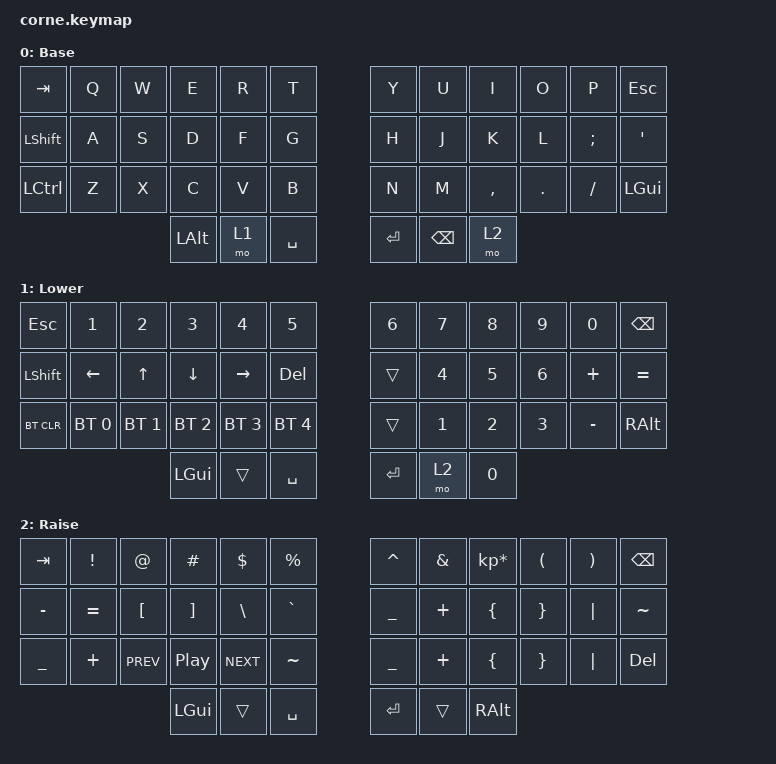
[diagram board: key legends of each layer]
/*
 * Copyright (c) 2020 The ZMK Contributors
 *
 * SPDX-License-Identifier: MIT
 */

#include <behaviors.dtsi>
#include <dt-bindings/zmk/bt.h>
#include <dt-bindings/zmk/keys.h>

/ {
    macros {
        new_macro: new_macro {
            compatible = "zmk,behavior-macro";
            label = "NEW_MACRO";
            #binding-cells = <0>;
            bindings = <&none>;
        };
    };

    combos {
        compatible = "zmk,combos";

        new_combo {
            bindings = <&mo 2>;
            key-positions = <37 40>;
        };

        bracketL {
            bindings = <&kp LEFT_BRACE>;
            key-positions = <16 19>;
        };

        bracketR {
            bindings = <&kp RIGHT_BRACE>;
            key-positions = <15 20>;
        };

        leftparenthsis {
            bindings = <&kp LEFT_PARENTHESIS>;
            key-positions = <14 21>;
        };

        rightparenthsis {
            bindings = <&kp RIGHT_PARENTHESIS>;
            key-positions = <13 22>;
        };

        leftbrace {
            bindings = <&kp LEFT_BRACKET>;
            key-positions = <4 7>;
        };

        rightbrace {
            bindings = <&kp RIGHT_BRACKET>;
            key-positions = <3 8>;
        };

        plus {
            bindings = <&kp PLUS>;
            key-positions = <19 20>;
        };

        minus {
            bindings = <&kp MINUS>;
            key-positions = <7 8>;
        };

        under {
            bindings = <&kp UNDER>;
            key-positions = <4 3>;
            layers = <0>;
        };

        equal {
            bindings = <&kp EQUAL>;
            key-positions = <16 15>;
        };

        anpersand {
            bindings = <&kp AMPERSAND>;
            key-positions = <20 21>;
        };

        pipe {
            bindings = <&kp PIPE>;
            key-positions = <14 13>;
        };

        exclamation {
            bindings = <&kp EXCL>;
            key-positions = <14 15>;
        };

        coma {
            bindings = <&kp COMMA>;
            key-positions = <4 3>;
            layers = <1>;
        };
    };

    keymap {
        compatible = "zmk,keymap";

        default_layer {
            // -----------------------------------------------------------------------------------------
            // |  TAB |  Q  |  W  |  E  |  R  |  T  |   |  Y  |  U   |  I  |  O  |  P  | ESC |
            // | SHFT |  A  |  S  |  D  |  F  |  G  |   |  H  |  J   |  K  |  L  |  ;  |  '   |
            // | CTRL |  Z  |  X  |  C  |  V  |  B  |   |  N  |  M   |  ,  |  .  |  /  | ALT  |
            //                    | GUI | LWR | SPC |   | ENT | BKSP | RSE |

            label = "Base";
            bindings = <
&kp TAB     &kp Q  &kp W  &kp E         &kp R  &kp T        &kp Y      &kp U          &kp I      &kp O    &kp P     &kp ESCAPE
&kp LSHIFT  &kp A  &kp S  &kp D         &kp F  &kp G        &kp H      &kp J          &kp K      &kp L    &kp SEMI  &kp SQT
&kp LCTRL   &kp Z  &kp X  &kp C         &kp V  &kp B        &kp N      &kp M          &kp COMMA  &kp DOT  &kp FSLH  &kp LEFT_GUI
                          &kp LEFT_ALT  &mo 1  &kp SPACE    &kp ENTER  &kp BACKSPACE  &mo 2
            >;
        };

        lower_layer {
            // -----------------------------------------------------------------------------------------
            // |  TAB | BT1 | BT2 | BT3 | BT4 | BT5 |   |     |  7  |  8  |  9  |     | BKSP |
            // | BTCLR| LFT | UP  | DWN | RGT |     |   |     |  4  |  5  |  6  |     |      |
            // | SHFT |     |     |     |     |     |   |     |  1  |  2  |  3  |     | ALT  |
            //                    | GUI |     | SPC |   | ENT | BKSP|  0  |

            label = "Lower";
            bindings = <
&kp ESCAPE  &kp N1        &kp N2        &kp N3        &kp N4        &kp N5          &kp N6     &kp N7  &kp N8  &kp N9  &kp N0     &kp BSPC
&kp LSHFT   &kp LEFT      &kp UP        &kp DOWN      &kp RIGHT     &kp DELETE      &trans     &kp N4  &kp N5  &kp N6  &kp PLUS   &kp EQUAL
&bt BT_CLR  &bt BT_SEL 0  &bt BT_SEL 1  &bt BT_SEL 2  &bt BT_SEL 3  &bt BT_SEL 4    &trans     &kp N1  &kp N2  &kp N3  &kp MINUS  &kp RIGHT_ALT
                                        &kp LGUI      &trans        &kp SPACE       &kp ENTER  &mo 2   &kp N0
            >;
        };

        raise_layer {
            // -----------------------------------------------------------------------------------------
            // |  TAB |  !  |  @  |  #  |  $  |  %  |   |  ^  |  &  |  *  |  (  |  )  | ALT  |
            // | CTRL |     |     |     |     |     |   |  -  |  =  |  [  |  ]  |  \  |  `   |
            // | SHFT |     |     |     |     |     |   |  _  |  +  |  {  |  }  | "|" |  ~   |
            //                    | GUI |     | SPC |   | ENT | BKSP|     |

            label = "Raise";
            bindings = <
&kp TAB    &kp EXCL   &kp AT            &kp HASH           &kp DLLR       &kp PRCNT    &kp CARET  &kp AMPS  &kp KP_MULTIPLY  &kp LPAR         &kp RPAR  &kp BSPC
&kp MINUS  &kp EQUAL  &kp LEFT_BRACKET  &kp RIGHT_BRACKET  &kp BACKSLASH  &kp GRAVE    &kp UNDER  &kp PLUS  &kp LEFT_BRACE   &kp RIGHT_BRACE  &kp PIPE  &kp TILDE
&kp UNDER  &kp PLUS   &kp C_PREV        &kp C_PLAY_PAUSE   &kp C_NEXT     &kp TILDE    &kp UNDER  &kp PLUS  &kp LBRC         &kp RBRC         &kp PIPE  &kp DEL
                                        &kp LGUI           &trans         &kp SPACE    &kp RET    &trans    &kp RALT
            >;
        };
    };
};
